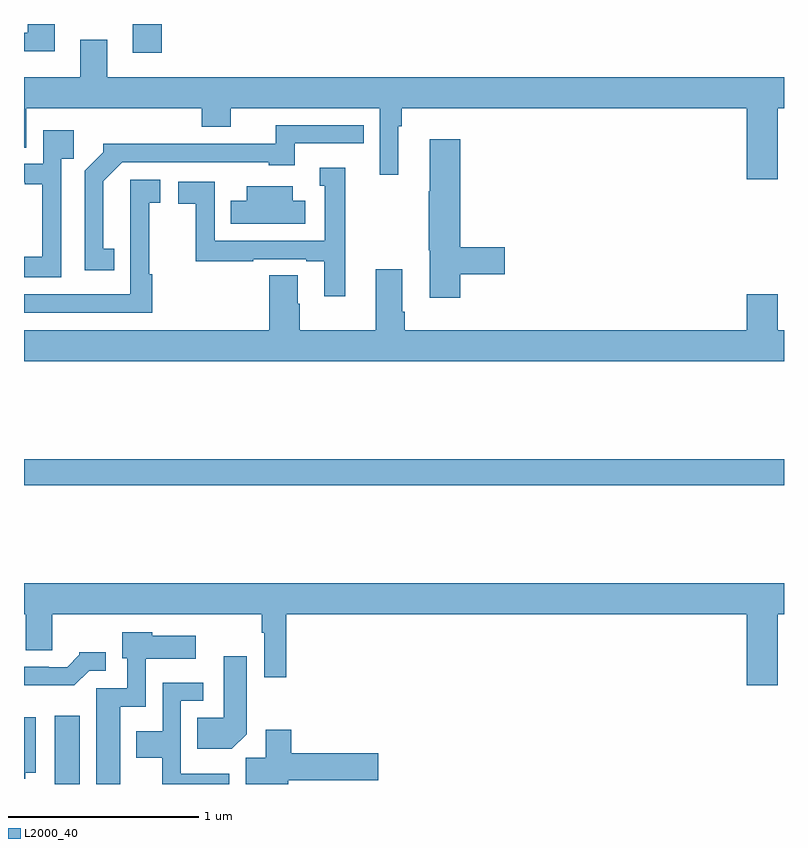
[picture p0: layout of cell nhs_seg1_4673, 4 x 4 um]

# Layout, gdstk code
import gdstk
lib = gdstk.Library(unit=1e-6, precision=1e-09)
def R(c, l, rs):  # rectangles x0, y0, x1, y1
    for r in rs: c.add(gdstk.rectangle(r[:2], r[2:], *l))
def P(c, l, *ps):  # polygons
    for p in ps: c.add(gdstk.Polygon(p, *l))
L2000_40 = (2000, 40)

nhs_seg1_4673 = lib.new_cell('nhs_seg1_4673')
R(nhs_seg1_4673, L2000_40, [(365.162,524.199,365.293,524.557), (365,525.772,369,525.908), (365.573,528.048,365.726,528.199)])
P(nhs_seg1_4673, L2000_40, [(365.161,528.199),(365.021,528.199),(365.021,528.153),(365,528.153),(365,528.056),(365.161,528.056)],
  [(368.968,527.756),(369,527.756),(369,527.92),(365.437,527.92),(365.437,528.115),(365.297,528.115),(365.297,527.92),(365,527.92),(365,527.548),(365.011,527.548),(365.011,527.756),(365.936,527.756),(365.936,527.657),(366.088,527.657),(366.088,527.756),(366.873,527.756),(366.873,527.406),(366.97,527.406),(366.97,527.66),(366.989,527.66),(366.989,527.756),(368.804,527.756),(368.804,527.382),(368.968,527.382)],
  [(365.474,527.015),(365.416,527.015),(365.416,527.371),(365.517,527.472),(366.288,527.472),(366.288,527.456),(366.424,527.456),(366.424,527.571),(366.788,527.571),(366.788,527.667),(366.325,527.667),(366.325,527.568),(365.852,527.568),(365.852,527.57),(365.418,527.57),(365.418,527.525),(365.319,527.426),(365.319,526.902),(365.474,526.902)],
  [(365.196,527.489),(365.261,527.489),(365.261,527.641),(365.1,527.641),(365.1,527.463),(365,527.463),(365,527.367),(365.003,527.367),(365.003,527.355),(365.095,527.355),(365.095,526.975),(365,526.975),(365,526.866),(365.196,526.866)],
  [(367.295,526.882),(367.531,526.882),(367.531,527.024),(367.295,527.024),(367.295,527.593),(367.136,527.593),(367.136,527.318),(367.129,527.318),(367.129,527.007),(367.136,527.007),(367.136,526.758),(367.295,526.758)],
  [(366.691,527.443),(366.557,527.443),(366.557,527.349),(366.582,527.349),(366.582,527.058),(366.003,527.058),(366.003,527.37),(365.811,527.37),(365.811,527.254),(365.905,527.254),(365.905,526.95),(366.206,526.95),(366.206,526.962),(366.485,526.962),(366.485,526.95),(366.581,526.95),(366.581,526.767),(366.691,526.767)],
  [(365.675,526.883),(365.658,526.883),(365.658,527.259),(365.716,527.259),(365.716,527.38),(365.558,527.38),(365.558,527.104),(365.559,527.104),(365.559,526.776),(365,526.776),(365,526.68),(365.675,526.68)],
  [(366.481,527.269),(366.415,527.269),(366.415,527.344),(366.173,527.344),(366.173,527.269),(366.088,527.269),(366.088,527.147),(366.481,527.147)],
  [(369,526.588),(368.968,526.588),(368.968,526.777),(368.804,526.777),(368.804,526.588),(367.004,526.588),(367.004,526.684),(366.991,526.684),(366.991,526.909),(366.851,526.909),(366.851,526.588),(366.45,526.588),(366.45,526.727),(366.442,526.727),(366.442,526.877),(366.29,526.877),(366.29,526.588),(365,526.588),(365,526.424),(369,526.424)],
  [(368.968,525.092),(369,525.092),(369,525.256),(365,525.256),(365,525.092),(365.009,525.092),(365.009,524.902),(365.149,524.902),(365.149,525.092),(366.252,525.092),(366.252,524.996),(366.264,524.996),(366.264,524.76),(366.38,524.76),(366.38,525.092),(368.804,525.092),(368.804,524.718),(368.968,524.718)],
  [(365.506,524.606),(365.64,524.606),(365.64,524.858),(365.905,524.858),(365.905,524.98),(365.676,524.98),(365.676,524.998),(365.516,524.998),(365.516,524.862),(365.544,524.862),(365.544,524.703),(365.381,524.703),(365.381,524.199),(365.506,524.199)],
  [(365.343,524.796),(365.431,524.796),(365.431,524.893),(365.292,524.893),(365.292,524.878),(365.228,524.814),(365.129,524.814),(365.129,524.817),(365,524.817),(365,524.718),(365.265,524.718)],
  [(366.172,524.462),(366.172,524.872),(366.05,524.872),(366.05,524.548),(365.911,524.548),(365.911,524.384),(366.094,524.384)],
  [(366.079,524.254),(365.826,524.254),(365.826,524.637),(365.944,524.637),(365.944,524.733),(365.73,524.733),(365.73,524.476),(365.591,524.476),(365.591,524.336),(365.728,524.336),(365.728,524.199),(366.079,524.199)],
  [(365.007,524.258),(365.062,524.258),(365.062,524.551),(365,524.551),(365,524.226),(365.007,524.226)],
  [(366.39,524.218),(366.865,524.218),(366.865,524.36),(366.407,524.36),(366.407,524.485),(366.272,524.485),(366.272,524.336),(366.167,524.336),(366.167,524.199),(366.39,524.199)])

lib.write_gds('nhs_seg1_4673.gds')
